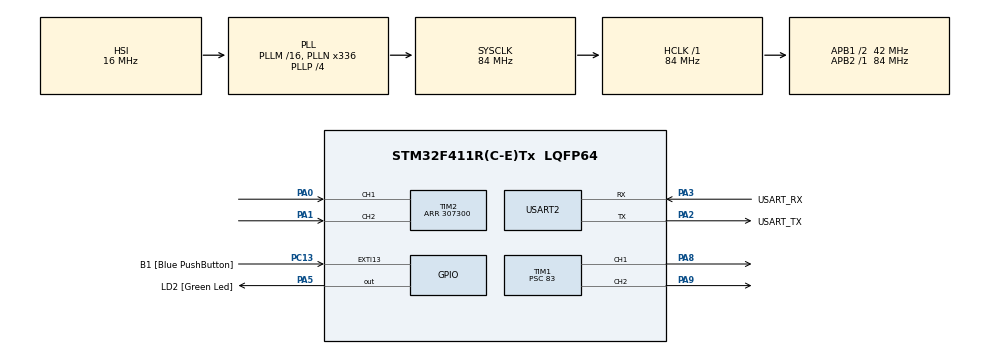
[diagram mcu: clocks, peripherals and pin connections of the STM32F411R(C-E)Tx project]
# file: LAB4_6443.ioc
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ARM.CMSIS.5.6.0.CMSISJjCORE=true
ARM.CMSIS.5.6.0.CMSISJjDSP=Library
Mcu.Family=STM32F4
Mcu.Name=STM32F411R(C-E)Tx
Mcu.Package=LQFP64
NVIC.PriorityGroup=NVIC_PRIORITYGROUP_0
PA0-WKUP.Signal=S_TIM2_CH1_ETR
PA1.Signal=S_TIM2_CH2
PA13.GPIO_Label=TMS
PA13.Mode=Trace_Asynchronous_SW
PA13.Signal=SYS_JTMS-SWDIO
PA14.GPIO_Label=TCK
PA14.Mode=Trace_Asynchronous_SW
PA14.Signal=SYS_JTCK-SWCLK
PA2.GPIO_Label=USART_TX
PA2.Mode=Asynchronous
PA2.Signal=USART2_TX
PA3.GPIO_Label=USART_RX
PA3.Mode=Asynchronous
PA3.Signal=USART2_RX
PA5.GPIO_Label=LD2 [Green Led]
PA5.Signal=GPIO_Output
PA8.Signal=S_TIM1_CH1
PA9.Signal=S_TIM1_CH2
PB3.GPIO_Label=SWO
PB3.Mode=Trace_Asynchronous_SW
PB3.Signal=SYS_JTDO-SWO
PC13-ANTI_TAMP.GPIO_Label=B1 [Blue PushButton]
PC13-ANTI_TAMP.GPIO_ModeDefaultEXTI=GPIO_MODE_IT_FALLING
PC13-ANTI_TAMP.Signal=GPXTI13
PC14-OSC32_IN.Mode=LSE-External-Oscillator
PC14-OSC32_IN.Signal=RCC_OSC32_IN
PC15-OSC32_OUT.Mode=LSE-External-Oscillator
PC15-OSC32_OUT.Signal=RCC_OSC32_OUT
PH0\ -\ OSC_IN.Mode=HSE-External-Clock-Source
PH0\ -\ OSC_IN.Signal=RCC_OSC_IN
PH1\ -\ OSC_OUT.Mode=HSE-External-Clock-Source
PH1\ -\ OSC_OUT.Signal=RCC_OSC_OUT
ProjectManager.HeapSize=0x200
ProjectManager.StackSize=0x400
ProjectManager.TargetToolchain=STM32CubeIDE
RCC.48MHZClocksFreq_Value=84000000
RCC.AHBFreq_Value=84000000
RCC.APB1CLKDivider=RCC_HCLK_DIV2
RCC.APB1Freq_Value=42000000
RCC.APB1TimFreq_Value=84000000
RCC.APB2Freq_Value=84000000
RCC.APB2TimFreq_Value=84000000
RCC.CortexFreq_Value=84000000
RCC.FLatency-AdvancedSettings=FLASH_LATENCY_2
RCC.HCLKFreq_Value=84000000
RCC.HSE_VALUE=8000000
RCC.HSI_VALUE=16000000
RCC.PLLN=336
RCC.PLLP=RCC_PLLP_DIV4
RCC.SYSCLKFreq_VALUE=84000000
RCC.SYSCLKSource=RCC_SYSCLKSOURCE_PLLCLK
RCC.VCOOutputFreq_Value=336000000
SH.S_TIM1_CH1.0=TIM1_CH1,PWM Generation1 CH1
SH.S_TIM1_CH2.0=TIM1_CH2,PWM Generation2 CH2
SH.S_TIM2_CH1_ETR.0=TIM2_CH1,Encoder_Interface
SH.S_TIM2_CH2.0=TIM2_CH2,Encoder_Interface
TIM1.Channel-PWM\ Generation1\ CH1=TIM_CHANNEL_1
TIM1.Channel-PWM\ Generation2\ CH2=TIM_CHANNEL_2
TIM1.Period=999
TIM1.Prescaler=83
TIM2.EncoderMode=TIM_ENCODERMODE_TI12
TIM2.Period=307300
USART2.VirtualMode=VM_ASYNC
VP_ARM.CMSIS_VS_CMSISJjCORE_5.3.0_5.6.0.Mode=CMSISJjCORE
VP_ARM.CMSIS_VS_CMSISJjDSP_1.7.0_5.6.0.Mode=CMSISJjDSP
VP_TIM1_VS_ClockSourceINT.Mode=Internal
board=NUCLEO-F411RE

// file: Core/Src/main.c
/* USER CODE BEGIN Header */
/**
  ******************************************************************************
  * @file           : main.c
  * @brief          : Main program body
  ******************************************************************************
  * @attention
  *
  * Copyright (c) 2023 STMicroelectronics.
  * All rights reserved.
  *
  * This software is licensed under terms that can be found in the LICENSE file
  * in the root directory of this software component.
  * If no LICENSE file comes with this software, it is provided AS-IS.
  *
  ******************************************************************************
  */
/* USER CODE END Header */
#include "main.h"

/* USER CODE BEGIN Includes */
#include "arm_math.h"
/* USER CODE END Includes */

TIM_HandleTypeDef htim1;
TIM_HandleTypeDef htim2;

UART_HandleTypeDef huart2;

/* USER CODE BEGIN PV */
uint32_t QEIReadRaw;
arm_pid_instance_f32 PID = {0} ;
float position = 0;
float setdegree = 1080;
float setposition = 0;
float duty = 0;
float duty_m = 0;
float Maxpos = 0;
/* USER CODE END PV */

void SystemClock_Config(void);
static void MX_GPIO_Init(void);
static void MX_USART2_UART_Init(void);
static void MX_TIM1_Init(void);
static void MX_TIM2_Init(void);

int main(void)
{

  /* MCU Configuration--------------------------------------------------------*/

  /* Reset of all peripherals, Initializes the Flash interface and the Systick. */
  HAL_Init();

  /* Configure the system clock */
  SystemClock_Config();

  /* Initialize all configured peripherals */
  MX_GPIO_Init();
  MX_USART2_UART_Init();
  MX_TIM1_Init();
  MX_TIM2_Init();
  /* USER CODE BEGIN 2 */
HAL_TIM_Encoder_Start(&htim2, TIM_CHANNEL_1|TIM_CHANNEL_2);

HAL_TIM_Base_Start(&htim1);
HAL_TIM_PWM_Start(&htim1, TIM_CHANNEL_1);
HAL_TIM_PWM_Start(&htim1, TIM_CHANNEL_2);

PID.Kp = 20;
PID.Ki = 0;
PID.Kd = 70;
arm_pid_init_f32(&PID, 0);
  /* USER CODE END 2 */

  /* Infinite loop */
  while (1)
  {

    /* USER CODE BEGIN 3 */
	  QEIReadRaw = __HAL_TIM_GET_COUNTER(&htim2);
	  setposition = floor((setdegree/36000)*307200);
	  position = QEIReadRaw;
	  static uint32_t timestamp = 0;
	  if(timestamp < HAL_GetTick()){
		  timestamp = HAL_GetTick() + 5 ;
		  duty = arm_pid_f32(&PID, setposition-position);

		  if(duty < 0){
			  duty_m = -1 * duty;
			  if(duty_m > 1000){
				  duty_m = 1000;
			  }
			  __HAL_TIM_SET_COMPARE(&htim1,TIM_CHANNEL_2,duty_m);
			  __HAL_TIM_SET_COMPARE(&htim1,TIM_CHANNEL_1,0);
		  }
		  else{
			  if(duty > 1000){
				  duty = 1000;
			  }
			  __HAL_TIM_SET_COMPARE(&htim1,TIM_CHANNEL_2,0);
			  __HAL_TIM_SET_COMPARE(&htim1,TIM_CHANNEL_1,duty);
		  }

		  if(Maxpos < position){
			  Maxpos = position;
		  }
	  }
  }
  /* USER CODE END 3 */
}

void SystemClock_Config(void)
{
  RCC_OscInitTypeDef RCC_OscInitStruct = {0};
  RCC_ClkInitTypeDef RCC_ClkInitStruct = {0};

  /** Configure the main internal regulator output voltage
  */
  __HAL_RCC_PWR_CLK_ENABLE();
  __HAL_PWR_VOLTAGESCALING_CONFIG(PWR_REGULATOR_VOLTAGE_SCALE1);

  /** Initializes the RCC Oscillators according to the specified parameters
  * in the RCC_OscInitTypeDef structure.
  */
  RCC_OscInitStruct.OscillatorType = RCC_OSCILLATORTYPE_HSI;
  RCC_OscInitStruct.HSIState = RCC_HSI_ON;
  RCC_OscInitStruct.HSICalibrationValue = RCC_HSICALIBRATION_DEFAULT;
  RCC_OscInitStruct.PLL.PLLState = RCC_PLL_ON;
  RCC_OscInitStruct.PLL.PLLSource = RCC_PLLSOURCE_HSI;
  RCC_OscInitStruct.PLL.PLLM = 16;
  RCC_OscInitStruct.PLL.PLLN = 336;
  RCC_OscInitStruct.PLL.PLLP = RCC_PLLP_DIV4;
  RCC_OscInitStruct.PLL.PLLQ = 4;
  if (HAL_RCC_OscConfig(&RCC_OscInitStruct) != HAL_OK)
  {
    Error_Handler();
  }

  /** Initializes the CPU, AHB and APB buses clocks
  */
  RCC_ClkInitStruct.ClockType = RCC_CLOCKTYPE_HCLK|RCC_CLOCKTYPE_SYSCLK
                              |RCC_CLOCKTYPE_PCLK1|RCC_CLOCKTYPE_PCLK2;
  RCC_ClkInitStruct.SYSCLKSource = RCC_SYSCLKSOURCE_PLLCLK;
  RCC_ClkInitStruct.AHBCLKDivider = RCC_SYSCLK_DIV1;
  RCC_ClkInitStruct.APB1CLKDivider = RCC_HCLK_DIV2;
  RCC_ClkInitStruct.APB2CLKDivider = RCC_HCLK_DIV1;

  if (HAL_RCC_ClockConfig(&RCC_ClkInitStruct, FLASH_LATENCY_2) != HAL_OK)
  {
    Error_Handler();
  }
}

static void MX_TIM1_Init(void)
{

  TIM_ClockConfigTypeDef sClockSourceConfig = {0};
  TIM_MasterConfigTypeDef sMasterConfig = {0};
  TIM_OC_InitTypeDef sConfigOC = {0};
  TIM_BreakDeadTimeConfigTypeDef sBreakDeadTimeConfig = {0};

  htim1.Instance = TIM1;
  htim1.Init.Prescaler = 83;
  htim1.Init.CounterMode = TIM_COUNTERMODE_UP;
  htim1.Init.Period = 999;
  htim1.Init.ClockDivision = TIM_CLOCKDIVISION_DIV1;
  htim1.Init.RepetitionCounter = 0;
  htim1.Init.AutoReloadPreload = TIM_AUTORELOAD_PRELOAD_DISABLE;
  if (HAL_TIM_Base_Init(&htim1) != HAL_OK)
  {
    Error_Handler();
  }
  sClockSourceConfig.ClockSource = TIM_CLOCKSOURCE_INTERNAL;
  if (HAL_TIM_ConfigClockSource(&htim1, &sClockSourceConfig) != HAL_OK)
  {
    Error_Handler();
  }
  if (HAL_TIM_PWM_Init(&htim1) != HAL_OK)
  {
    Error_Handler();
  }
  sMasterConfig.MasterOutputTrigger = TIM_TRGO_RESET;
  sMasterConfig.MasterSlaveMode = TIM_MASTERSLAVEMODE_DISABLE;
  if (HAL_TIMEx_MasterConfigSynchronization(&htim1, &sMasterConfig) != HAL_OK)
  {
    Error_Handler();
  }
  sConfigOC.OCMode = TIM_OCMODE_PWM1;
  sConfigOC.Pulse = 0;
  sConfigOC.OCPolarity = TIM_OCPOLARITY_HIGH;
  sConfigOC.OCNPolarity = TIM_OCNPOLARITY_HIGH;
  sConfigOC.OCFastMode = TIM_OCFAST_DISABLE;
  sConfigOC.OCIdleState = TIM_OCIDLESTATE_RESET;
  sConfigOC.OCNIdleState = TIM_OCNIDLESTATE_RESET;
  if (HAL_TIM_PWM_ConfigChannel(&htim1, &sConfigOC, TIM_CHANNEL_1) != HAL_OK)
  {
    Error_Handler();
  }
  if (HAL_TIM_PWM_ConfigChannel(&htim1, &sConfigOC, TIM_CHANNEL_2) != HAL_OK)
  {
    Error_Handler();
  }
  sBreakDeadTimeConfig.OffStateRunMode = TIM_OSSR_DISABLE;
  sBreakDeadTimeConfig.OffStateIDLEMode = TIM_OSSI_DISABLE;
  sBreakDeadTimeConfig.LockLevel = TIM_LOCKLEVEL_OFF;
  sBreakDeadTimeConfig.DeadTime = 0;
  sBreakDeadTimeConfig.BreakState = TIM_BREAK_DISABLE;
  sBreakDeadTimeConfig.BreakPolarity = TIM_BREAKPOLARITY_HIGH;
  sBreakDeadTimeConfig.AutomaticOutput = TIM_AUTOMATICOUTPUT_DISABLE;
  if (HAL_TIMEx_ConfigBreakDeadTime(&htim1, &sBreakDeadTimeConfig) != HAL_OK)
  {
    Error_Handler();
  }
  HAL_TIM_MspPostInit(&htim1);

}

static void MX_TIM2_Init(void)
{

  TIM_Encoder_InitTypeDef sConfig = {0};
  TIM_MasterConfigTypeDef sMasterConfig = {0};

  htim2.Instance = TIM2;
  htim2.Init.Prescaler = 0;
  htim2.Init.CounterMode = TIM_COUNTERMODE_UP;
  htim2.Init.Period = 307300;
  htim2.Init.ClockDivision = TIM_CLOCKDIVISION_DIV1;
  htim2.Init.AutoReloadPreload = TIM_AUTORELOAD_PRELOAD_DISABLE;
  sConfig.EncoderMode = TIM_ENCODERMODE_TI12;
  sConfig.IC1Polarity = TIM_ICPOLARITY_RISING;
  sConfig.IC1Selection = TIM_ICSELECTION_DIRECTTI;
  sConfig.IC1Prescaler = TIM_ICPSC_DIV1;
  sConfig.IC1Filter = 0;
  sConfig.IC2Polarity = TIM_ICPOLARITY_RISING;
  sConfig.IC2Selection = TIM_ICSELECTION_DIRECTTI;
  sConfig.IC2Prescaler = TIM_ICPSC_DIV1;
  sConfig.IC2Filter = 0;
  if (HAL_TIM_Encoder_Init(&htim2, &sConfig) != HAL_OK)
  {
    Error_Handler();
  }
  sMasterConfig.MasterOutputTrigger = TIM_TRGO_RESET;
  sMasterConfig.MasterSlaveMode = TIM_MASTERSLAVEMODE_DISABLE;
  if (HAL_TIMEx_MasterConfigSynchronization(&htim2, &sMasterConfig) != HAL_OK)
  {
    Error_Handler();
  }

}

static void MX_USART2_UART_Init(void)
{

  huart2.Instance = USART2;
  huart2.Init.BaudRate = 115200;
  huart2.Init.WordLength = UART_WORDLENGTH_8B;
  huart2.Init.StopBits = UART_STOPBITS_1;
  huart2.Init.Parity = UART_PARITY_NONE;
  huart2.Init.Mode = UART_MODE_TX_RX;
  huart2.Init.HwFlowCtl = UART_HWCONTROL_NONE;
  huart2.Init.OverSampling = UART_OVERSAMPLING_16;
  if (HAL_UART_Init(&huart2) != HAL_OK)
  {
    Error_Handler();
  }

}

static void MX_GPIO_Init(void)
{
  GPIO_InitTypeDef GPIO_InitStruct = {0};

  /* GPIO Ports Clock Enable */
  __HAL_RCC_GPIOC_CLK_ENABLE();
  __HAL_RCC_GPIOH_CLK_ENABLE();
  __HAL_RCC_GPIOA_CLK_ENABLE();
  __HAL_RCC_GPIOB_CLK_ENABLE();

  /*Configure GPIO pin Output Level */
  HAL_GPIO_WritePin(LD2_GPIO_Port, LD2_Pin, GPIO_PIN_RESET);

  /*Configure GPIO pin : B1_Pin */
  GPIO_InitStruct.Pin = B1_Pin;
  GPIO_InitStruct.Mode = GPIO_MODE_IT_FALLING;
  GPIO_InitStruct.Pull = GPIO_NOPULL;
  HAL_GPIO_Init(B1_GPIO_Port, &GPIO_InitStruct);

  /*Configure GPIO pin : LD2_Pin */
  GPIO_InitStruct.Pin = LD2_Pin;
  GPIO_InitStruct.Mode = GPIO_MODE_OUTPUT_PP;
  GPIO_InitStruct.Pull = GPIO_NOPULL;
  GPIO_InitStruct.Speed = GPIO_SPEED_FREQ_LOW;
  HAL_GPIO_Init(LD2_GPIO_Port, &GPIO_InitStruct);

}

void Error_Handler(void)
{
  __disable_irq();
  while (1)
  {
  }
}
